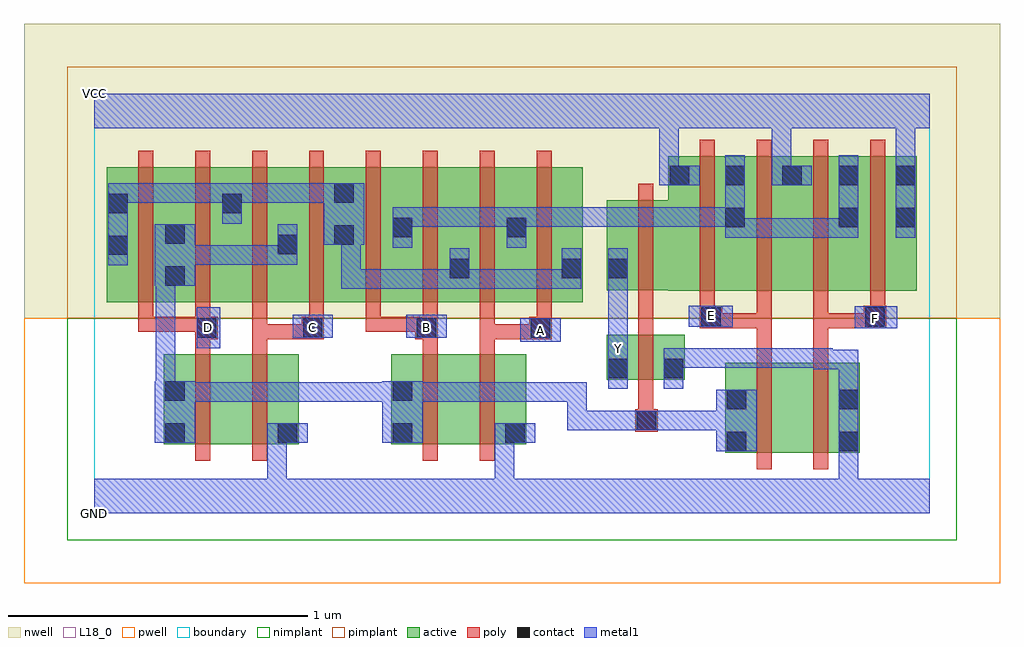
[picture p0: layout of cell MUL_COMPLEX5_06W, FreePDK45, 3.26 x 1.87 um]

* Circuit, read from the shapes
.subckt MUL_COMPLEX5_06W A B C D E F GND VCC Y
M1 n1 D n2 VSUBS nfet w=0.3u l=0.05u
M2 GND C n1 VSUBS nfet w=0.3u l=0.05u
M3 n3 B n2 VSUBS nfet w=0.3u l=0.05u
M4 GND A n3 VSUBS nfet w=0.3u l=0.05u
M5 GND n2 Y VSUBS nfet w=0.15u l=0.05u
M6 n4 E n2 VSUBS nfet w=0.3u l=0.05u
M7 GND F n4 VSUBS nfet w=0.3u l=0.05u
M8 n2 D n5 n6 pfet w=0.45u l=0.05u m=2
M9 n2 C n5 n6 pfet w=0.45u l=0.05u m=2
M10 n7 B n5 n6 pfet w=0.45u l=0.05u m=2
M11 n7 A n5 n6 pfet w=0.45u l=0.05u m=2
M12 VCC n2 Y n6 pfet w=0.3u l=0.05u
M13 n7 E VCC n6 pfet w=0.45u l=0.05u m=2
M14 n7 F VCC n6 pfet w=0.45u l=0.05u m=2
.ends

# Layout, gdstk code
import gdstk
lib = gdstk.Library(unit=1e-6, precision=1e-09)
def R(c, l, rs):  # rectangles x0, y0, x1, y1
    for r in rs: c.add(gdstk.rectangle(r[:2], r[2:], *l))
def A(c, l, x, y, w, h, nx, ny, dx, dy):  # array of equal rectangles
    R(c, l, [(x+i*dx, y+j*dy, x+i*dx+w, y+j*dy+h) for i in range(nx) for j in range(ny)])
active = (1, 0)
pwell = (2, 0)
nwell = (3, 0)
nimplant = (4, 0)
pimplant = (5, 0)
poly = (9, 0)
contact = (10, 0)
metal1 = (11, 0)
L18_0 = (18, 0)
boundary = (235, 0)

mul_complex5_06w = lib.new_cell('MUL_COMPLEX5_06W')
A(mul_complex5_06w, active, 2.102, 0.742, 0.265, 0.45, 3, 1, 0.19, 0)
A(mul_complex5_06w, active, 2.102, 0.857, 0.075, 0.335, 3, 1, 0.19, 0)
R(mul_complex5_06w, active, [(2.107,0.202,2.182,0.502), (2.107,0.202,2.332,0.502), (2.332,0.202,2.557,0.502), (2.482,0.202,2.557,0.502), (0.232,0.23,0.307,0.53), (0.232,0.23,0.457,0.53), (0.457,0.23,0.682,0.53), (0.607,0.23,0.682,0.53), (0.992,0.23,1.067,0.53), (0.992,0.23,1.217,0.53), (1.217,0.23,1.442,0.53), (1.367,0.23,1.442,0.53), (1.712,0.445,1.787,0.595), (1.712,0.445,1.972,0.595), (1.897,0.445,1.972,0.595), (0.042,0.705,0.117,1.155), (0.042,0.705,0.307,1.155), (0.232,0.705,0.497,1.155), (0.232,0.705,0.307,1.07), (0.422,0.705,0.497,1.155), (0.422,0.705,0.682,1.155), (0.607,0.705,0.872,1.155), (0.607,0.705,0.682,1.07), (0.797,0.705,0.872,1.155), (0.797,0.705,1.067,1.155), (0.992,0.705,1.067,1.155), (0.992,0.705,1.257,1.155), (1.182,0.705,1.447,1.155), (1.182,0.705,1.257,1.07), (1.372,0.705,1.447,1.155), (1.372,0.705,1.632,1.155), (1.557,0.705,1.632,1.07), (1.917,0.742,2.177,1.192), (2.672,0.742,2.747,1.192), (1.712,0.745,1.992,1.045), (1.712,0.78,1.787,1.005), (1.917,0.96,1.992,1.165)])
R(mul_complex5_06w, pwell, [(-0.235,-0.235,3.025,0.65)])
R(mul_complex5_06w, nwell, [(-0.235,0.65,3.025,1.635)])
R(mul_complex5_06w, nimplant, [(-0.09,-0.09,2.88,0.65)])
R(mul_complex5_06w, pimplant, [(-0.09,0.65,2.88,1.49)])
A(mul_complex5_06w, poly, 0.692, 0.58, 0.075, 0.075, 3, 1, 0.38, 0)
A(mul_complex5_06w, poly, 0.717, 0.605, 0.05, 0.095, 3, 1, 0.19, 0)
A(mul_complex5_06w, poly, 0.147, 0.65, 0.05, 0.56, 8, 1, 0.19, 0)
A(mul_complex5_06w, poly, 2.022, 0.687, 0.05, 0.56, 4, 1, 0.19, 0)
R(mul_complex5_06w, poly, [(2.212,0.147,2.262,0.557), (2.402,0.147,2.452,0.557), (0.337,0.175,0.387,0.585), (0.527,0.175,0.577,0.585), (1.097,0.175,1.147,0.585), (1.287,0.175,1.337,0.585), (1.807,0.272,1.882,0.347), (1.817,0.297,1.867,0.44), (1.817,0.39,1.867,0.65), (2.212,0.507,2.262,0.667), (2.402,0.507,2.452,0.667), (0.337,0.535,0.387,0.63), (0.527,0.535,0.577,0.63), (1.097,0.535,1.147,0.63), (1.287,0.535,1.337,0.63), (0.337,0.58,0.412,0.655), (0.527,0.58,0.577,0.63), (0.527,0.58,0.577,0.63), (0.527,0.58,0.577,0.63), (0.527,0.58,0.577,0.7), (0.527,0.58,0.742,0.63), (1.287,0.58,1.337,0.63), (1.287,0.58,1.337,0.63), (1.287,0.58,1.337,0.63), (1.287,0.58,1.337,0.7), (1.287,0.58,1.502,0.63), (1.817,0.6,1.867,0.695), (0.147,0.605,0.197,0.7), (0.147,0.605,0.197,0.655), (0.147,0.605,0.387,0.655), (0.337,0.605,0.387,0.7), (0.337,0.605,0.387,0.655), (0.337,0.605,0.387,0.655), (0.907,0.605,0.957,0.655), (0.907,0.605,0.957,0.655), (0.907,0.605,0.957,0.655), (0.907,0.605,1.122,0.655), (1.477,0.605,1.527,0.7), (2.022,0.617,2.097,0.692), (2.047,0.617,2.097,0.667), (2.047,0.617,2.097,0.667), (2.047,0.617,2.262,0.667), (2.212,0.617,2.262,0.667), (2.212,0.617,2.262,0.737), (2.402,0.617,2.62,0.667), (2.402,0.617,2.452,0.667), (2.402,0.617,2.452,0.667), (2.402,0.617,2.452,0.667), (2.402,0.617,2.452,0.737), (2.57,0.617,2.645,0.692), (2.022,0.642,2.072,0.737), (2.592,0.642,2.642,0.737), (1.817,0.645,1.867,0.74), (1.817,0.645,1.867,0.695), (1.817,0.69,1.867,1.1)])
A(mul_complex5_06w, contact, 0.697, 0.585, 0.065, 0.065, 3, 1, 0.38, 0)
A(mul_complex5_06w, contact, 2.107, 1.095, 0.065, 0.065, 4, 1, 0.19, 0)
R(mul_complex5_06w, contact, [(2.112,0.207,2.177,0.272), (2.487,0.207,2.552,0.272), (0.237,0.235,0.302,0.3), (0.612,0.235,0.677,0.3), (0.997,0.235,1.062,0.3), (1.372,0.235,1.437,0.3), (1.812,0.277,1.877,0.342), (2.112,0.347,2.177,0.412), (2.487,0.347,2.552,0.412), (0.237,0.375,0.302,0.44), (0.997,0.375,1.062,0.44), (1.717,0.45,1.782,0.515), (1.902,0.45,1.967,0.515), (0.342,0.585,0.407,0.65), (2.027,0.622,2.092,0.687), (2.575,0.622,2.64,0.687), (0.237,0.76,0.302,0.825), (1.187,0.785,1.252,0.85), (1.562,0.785,1.627,0.85), (1.717,0.785,1.782,0.85), (0.047,0.862,0.112,0.927), (0.612,0.865,0.677,0.93), (0.802,0.897,0.867,0.962), (0.237,0.9,0.302,0.965), (0.997,0.922,1.062,0.987), (1.377,0.922,1.442,0.987), (2.107,0.955,2.172,1.02), (2.487,0.955,2.552,1.02), (2.677,0.955,2.742,1.02), (0.047,1.002,0.112,1.067), (0.427,1.002,0.492,1.067), (0.802,1.037,0.867,1.102), (1.922,1.095,1.987,1.16)])
R(mul_complex5_06w, metal1, [(0,0,2.79,0.115), (0.577,0.05,0.642,0.115), (0.577,0.05,0.642,0.115), (0.577,0.05,0.642,0.3), (1.337,0.05,1.402,0.115), (1.337,0.05,1.402,0.115), (1.337,0.05,1.402,0.115), (1.337,0.05,1.402,0.115), (1.337,0.05,1.402,0.3), (2.487,0.05,2.552,0.115), (2.487,0.05,2.552,0.115), (2.487,0.05,2.552,0.237), (2.487,0.172,2.552,0.237), (2.487,0.172,2.552,0.237), (2.487,0.172,2.552,0.447), (2.077,0.207,2.212,0.412), (0.202,0.235,0.337,0.44), (0.577,0.235,0.642,0.3), (0.577,0.235,0.642,0.3), (0.577,0.235,0.712,0.3), (0.962,0.235,1.097,0.44), (1.337,0.235,1.472,0.3), (1.58,0.277,1.645,0.342), (1.58,0.277,1.645,0.342), (1.58,0.277,1.645,0.342), (1.58,0.277,1.842,0.342), (1.58,0.277,1.645,0.437), (1.777,0.277,1.912,0.342), (1.847,0.277,1.912,0.342), (1.847,0.277,1.912,0.342), (1.847,0.277,2.142,0.342), (2.077,0.277,2.142,0.342), (2.077,0.277,2.142,0.342), (0.272,0.372,0.337,0.437), (0.272,0.372,0.337,0.437), (0.272,0.372,0.492,0.437), (0.427,0.372,0.492,0.437), (0.427,0.372,0.492,0.437), (0.427,0.372,0.492,0.437), (0.427,0.372,0.695,0.437), (0.63,0.372,0.695,0.437), (0.63,0.372,0.695,0.437), (0.63,0.372,0.695,0.437), (0.63,0.372,0.89,0.437), (0.825,0.372,0.89,0.437), (0.825,0.372,0.89,0.437), (0.825,0.372,0.89,0.437), (0.825,0.372,1.027,0.437), (1.032,0.372,1.097,0.437), (1.032,0.372,1.097,0.437), (1.032,0.372,1.235,0.437), (1.17,0.372,1.235,0.437), (1.17,0.372,1.235,0.437), (1.17,0.372,1.235,0.437), (1.17,0.372,1.39,0.437), (1.325,0.372,1.39,0.437), (1.325,0.372,1.39,0.437), (1.325,0.372,1.39,0.437), (1.325,0.372,1.645,0.437), (1.58,0.372,1.645,0.437), (1.58,0.372,1.645,0.437), (1.58,0.372,1.645,0.437), (0.205,0.375,0.27,0.825), (2.487,0.382,2.552,0.545), (1.717,0.415,1.782,0.55), (1.902,0.415,1.967,0.55), (2.402,0.48,2.552,0.545), (2.402,0.48,2.467,0.55), (2.487,0.48,2.552,0.545), (2.487,0.48,2.552,0.545), (2.487,0.48,2.552,0.545), (1.717,0.482,1.782,0.617), (1.717,0.485,1.782,0.55), (1.902,0.485,2.105,0.55), (2.04,0.485,2.105,0.55), (2.04,0.485,2.105,0.55), (2.04,0.485,2.105,0.55), (2.04,0.485,2.33,0.55), (2.265,0.485,2.33,0.55), (2.265,0.485,2.415,0.55), (2.35,0.485,2.415,0.55), (2.35,0.485,2.467,0.55), (0.342,0.55,0.42,0.687), (1.717,0.552,1.782,0.815), (1.422,0.572,1.557,0.65), (0.662,0.585,0.797,0.662), (1.042,0.585,1.177,0.662), (2.54,0.617,2.682,0.69), (1.985,0.622,2.132,0.692), (0.825,0.75,0.89,0.815), (0.825,0.75,0.89,0.815), (0.825,0.75,0.89,0.815), (0.825,0.75,1.04,0.815), (0.825,0.75,0.89,0.962), (0.975,0.75,1.04,0.815), (0.975,0.75,1.04,0.815), (0.975,0.75,1.04,0.815), (0.975,0.75,1.252,0.815), (1.187,0.75,1.252,0.815), (1.187,0.75,1.252,0.815), (1.187,0.75,1.39,0.815), (1.187,0.75,1.252,0.885), (1.325,0.75,1.39,0.815), (1.325,0.75,1.39,0.815), (1.325,0.75,1.39,0.815), (1.325,0.75,1.627,0.815), (1.562,0.75,1.627,0.885), (1.717,0.75,1.782,0.885), (0.202,0.76,0.337,0.965), (0.205,0.76,0.27,0.825), (0.205,0.76,0.27,0.825), (0.047,0.827,0.112,1.102), (0.272,0.83,0.337,0.895), (0.272,0.83,0.337,0.895), (0.272,0.83,0.505,0.895), (0.44,0.83,0.505,0.895), (0.44,0.83,0.557,0.895), (0.492,0.83,0.557,0.895), (0.492,0.83,0.677,0.895), (0.612,0.83,0.677,0.965), (0.997,0.887,1.062,1.022), (1.377,0.887,1.442,1.022), (0.767,0.897,0.902,1.102), (2.107,0.92,2.172,1.195), (2.107,0.92,2.33,0.985), (2.265,0.92,2.33,0.985), (2.265,0.92,2.415,0.985), (2.35,0.92,2.415,0.985), (2.35,0.92,2.467,0.985), (2.402,0.92,2.467,0.985), (2.402,0.92,2.552,0.985), (2.487,0.92,2.552,1.195), (2.677,0.92,2.742,1.195), (0.997,0.957,1.062,1.022), (0.997,0.957,1.062,1.022), (0.997,0.957,1.235,1.022), (1.17,0.957,1.235,1.022), (1.17,0.957,1.235,1.022), (1.17,0.957,1.235,1.022), (1.17,0.957,1.442,1.022), (1.377,0.957,1.442,1.022), (1.377,0.957,1.442,1.022), (1.377,0.957,1.705,1.022), (1.64,0.957,1.705,1.022), (1.64,0.957,1.705,1.022), (1.64,0.957,1.705,1.022), (1.64,0.957,1.912,1.022), (1.847,0.957,1.912,1.022), (1.847,0.957,1.92,1.022), (1.855,0.957,1.92,1.022), (1.855,0.957,1.92,1.022), (1.855,0.957,1.92,1.022), (1.855,0.957,2.172,1.022), (2.107,0.957,2.172,1.022), (2.107,0.957,2.172,1.022), (0.427,0.967,0.492,1.102), (0.047,1.037,0.112,1.102), (0.047,1.037,0.112,1.102), (0.047,1.037,0.355,1.102), (0.29,1.037,0.355,1.102), (0.29,1.037,0.355,1.102), (0.29,1.037,0.355,1.102), (0.29,1.037,0.492,1.102), (0.427,1.037,0.557,1.102), (0.492,1.037,0.557,1.102), (0.492,1.037,0.695,1.102), (0.63,1.037,0.695,1.102), (0.63,1.037,0.695,1.102), (0.63,1.037,0.695,1.102), (0.63,1.037,0.832,1.102), (1.887,1.095,1.952,1.16), (1.887,1.095,1.952,1.16), (1.887,1.095,1.952,1.35), (1.887,1.095,2.022,1.16), (2.262,1.095,2.327,1.16), (2.262,1.095,2.327,1.16), (2.262,1.095,2.327,1.35), (2.262,1.095,2.397,1.16), (2.677,1.13,2.742,1.195), (2.677,1.13,2.742,1.195), (2.677,1.13,2.742,1.35), (0,1.285,2.79,1.4)])
R(mul_complex5_06w, L18_0, [(0,0,2.79,0.115), (0.577,0.05,0.642,0.115), (0.577,0.05,0.642,0.115), (0.577,0.05,0.642,0.3), (1.337,0.05,1.402,0.115), (1.337,0.05,1.402,0.115), (1.337,0.05,1.402,0.115), (1.337,0.05,1.402,0.115), (1.337,0.05,1.402,0.3), (2.487,0.05,2.552,0.115), (2.487,0.05,2.552,0.115), (2.487,0.05,2.552,0.237), (2.487,0.172,2.552,0.237), (2.487,0.172,2.552,0.237), (2.487,0.172,2.552,0.447), (0.577,0.235,0.642,0.3), (0.577,0.235,0.642,0.3), (0.577,0.235,0.712,0.3), (1.337,0.235,1.472,0.3), (2.487,0.382,2.552,0.545), (1.717,0.415,1.782,0.55), (1.902,0.415,1.967,0.55), (2.402,0.48,2.552,0.545), (2.402,0.48,2.467,0.55), (2.487,0.48,2.552,0.545), (2.487,0.48,2.552,0.545), (2.487,0.48,2.552,0.545), (1.717,0.482,1.782,0.617), (1.717,0.485,1.782,0.55), (1.902,0.485,2.105,0.55), (2.04,0.485,2.105,0.55), (2.04,0.485,2.105,0.55), (2.04,0.485,2.105,0.55), (2.04,0.485,2.33,0.55), (2.265,0.485,2.33,0.55), (2.265,0.485,2.415,0.55), (2.35,0.485,2.415,0.55), (2.35,0.485,2.467,0.55), (1.717,0.517,1.782,0.582), (0.342,0.55,0.42,0.687), (1.717,0.552,1.782,0.815), (1.422,0.572,1.557,0.65), (1.457,0.577,1.522,0.642), (0.662,0.585,0.797,0.662), (1.042,0.585,1.177,0.662), (0.347,0.587,0.412,0.652), (0.697,0.587,0.762,0.652), (1.077,0.587,1.142,0.652), (2.54,0.617,2.682,0.69), (2.577,0.617,2.642,0.682), (1.985,0.622,2.132,0.692), (2.027,0.627,2.092,0.692), (1.717,0.75,1.782,0.885), (2.677,0.92,2.742,1.195), (1.887,1.095,1.952,1.16), (1.887,1.095,1.952,1.16), (1.887,1.095,2.022,1.16), (1.887,1.095,1.952,1.35), (2.262,1.095,2.327,1.16), (2.262,1.095,2.327,1.16), (2.262,1.095,2.397,1.16), (2.262,1.095,2.327,1.35), (2.677,1.13,2.742,1.195), (2.677,1.13,2.742,1.195), (2.677,1.13,2.742,1.35), (0,1.285,2.79,1.4)])
R(mul_complex5_06w, boundary, [(0,0,2.79,1.4)])
mul_complex5_06w.add(gdstk.Label('A', (1.49,0.61), layer=11, texttype=0))
mul_complex5_06w.add(gdstk.Label('B', (1.11,0.62), layer=11, texttype=0))
mul_complex5_06w.add(gdstk.Label('C', (0.73,0.62), layer=11, texttype=0))
mul_complex5_06w.add(gdstk.Label('D', (0.38,0.62), layer=11, texttype=0))
mul_complex5_06w.add(gdstk.Label('E', (2.06,0.66), layer=11, texttype=0))
mul_complex5_06w.add(gdstk.Label('F', (2.61,0.65), layer=11, texttype=0))
mul_complex5_06w.add(gdstk.Label('Y', (1.75,0.55), layer=11, texttype=0))
mul_complex5_06w.add(gdstk.Label('VCC', (0,1.4), layer=11, texttype=0))
mul_complex5_06w.add(gdstk.Label('GND', (0,0), layer=11, texttype=0))

lib.write_gds('MUL_COMPLEX5_06W.gds')
